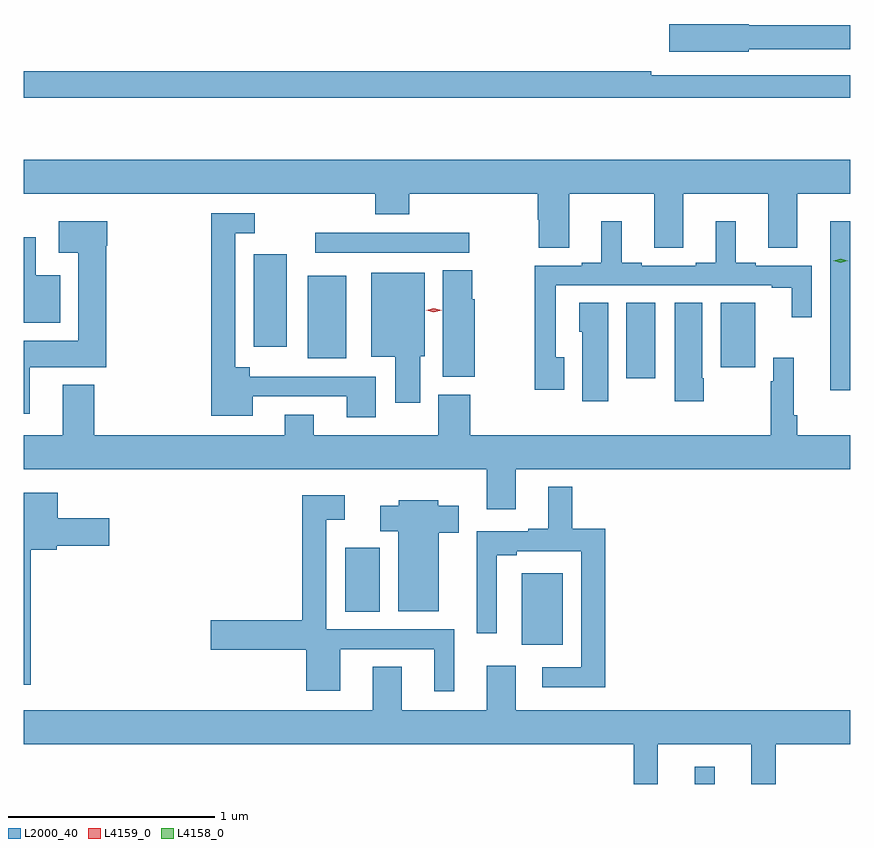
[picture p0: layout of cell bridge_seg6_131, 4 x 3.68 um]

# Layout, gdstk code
import gdstk
lib = gdstk.Library(unit=1e-6, precision=1e-09)
def R(c, l, rs):  # rectangles x0, y0, x1, y1
    for r in rs: c.add(gdstk.rectangle(r[:2], r[2:], *l))
def P(c, l, *ps):  # polygons
    for p in ps: c.add(gdstk.Polygon(p, *l))
L2000_40 = (2000, 40)
L4158_0 = (4158, 0)
L4159_0 = (4159, 0)

bridge_seg6_131 = lib.new_cell('bridge_seg6_131')
R(bridge_seg6_131, L2000_40, [(480.921,923.168,481.018,923.251), (480.083,923.843,480.283,924.187), (479.231,924.001,479.398,924.311), (480.59,925.131,480.73,925.496), (481.046,925.185,481.213,925.496), (479.048,925.229,479.236,925.627), (478.787,925.284,478.948,925.732), (479.085,925.74,479.83,925.836)])
P(bridge_seg6_131, L2000_40, [(481.182,926.724),(481.674,926.724),(481.674,926.84),(481.182,926.84),(481.182,926.846),(480.798,926.846),(480.798,926.711),(481.182,926.711)],
  [(481.674,926.598),(480.71,926.598),(480.71,926.618),(477.674,926.618),(477.674,926.49),(481.674,926.49)],
  [(480.313,926.024),(480.725,926.024),(480.725,925.762),(480.865,925.762),(480.865,926.024),(481.277,926.024),(481.277,925.762),(481.417,925.762),(481.417,926.024),(481.674,926.024),(481.674,926.188),(477.674,926.188),(477.674,926.024),(479.375,926.024),(479.375,925.925),(479.54,925.925),(479.54,926.024),(480.161,926.024),(480.161,925.899),(480.166,925.899),(480.166,925.762),(480.313,925.762)],
  [(479.377,925.14),(478.768,925.14),(478.768,925.186),(478.698,925.186),(478.698,925.833),(478.792,925.833),(478.792,925.929),(478.582,925.929),(478.582,924.95),(478.783,924.95),(478.783,925.044),(479.237,925.044),(479.237,924.942),(479.377,924.942)],
  [(481.674,925.891),(481.578,925.891),(481.578,925.376),(481.577,925.376),(481.577,925.074),(481.674,925.074)],
  [(477.703,925.184),(478.073,925.184),(478.073,925.773),(478.078,925.773),(478.078,925.891),(477.843,925.891),(477.843,925.739),(477.938,925.739),(477.938,925.312),(477.674,925.312),(477.674,924.96),(477.703,924.96)],
  [(480.289,925.233),(480.249,925.233),(480.249,925.581),(481.295,925.581),(481.295,925.569),(481.391,925.569),(481.391,925.428),(481.488,925.428),(481.488,925.677),(481.216,925.677),(481.216,925.69),(481.12,925.69),(481.12,925.891),(481.022,925.891),(481.022,925.69),(480.926,925.69),(480.926,925.677),(480.664,925.677),(480.664,925.69),(480.568,925.69),(480.568,925.891),(480.47,925.891),(480.47,925.69),(480.374,925.69),(480.374,925.677),(480.148,925.677),(480.148,925.077),(480.289,925.077)],
  [(477.85,925.63),(477.733,925.63),(477.733,925.813),(477.674,925.813),(477.674,925.4),(477.85,925.4)],
  [(479.857,925.515),(479.844,925.515),(479.844,925.655),(479.702,925.655),(479.702,925.139),(479.857,925.139)],
  [(479.593,925.239),(479.614,925.239),(479.614,925.642),(479.357,925.642),(479.357,925.235),(479.471,925.235),(479.471,925.014),(479.593,925.014)],
  [(480.502,925.496),(480.362,925.496),(480.362,925.356),(480.377,925.356),(480.377,925.02),(480.502,925.02)],
  [(480.966,925.132),(480.958,925.132),(480.958,925.496),(480.824,925.496),(480.824,925.02),(480.966,925.02)],
  [(480.055,924.692),(481.674,924.692),(481.674,924.856),(481.418,924.856),(481.418,924.952),(481.4,924.952),(481.4,925.231),(481.302,925.231),(481.302,925.118),(481.29,925.118),(481.29,924.856),(479.834,924.856),(479.834,925.051),(479.681,925.051),(479.681,924.856),(479.077,924.856),(479.077,924.955),(478.937,924.955),(478.937,924.856),(478.016,924.856),(478.016,925.099),(477.863,925.099),(477.863,924.856),(477.674,924.856),(477.674,924.692),(479.915,924.692),(479.915,924.498),(480.055,924.498)],
  [(480.488,924.403),(480.329,924.403),(480.329,924.607),(480.212,924.607),(480.212,924.403),(480.116,924.403),(480.116,924.39),(479.867,924.39),(479.867,923.898),(479.964,923.898),(479.964,924.274),(480.061,924.274),(480.061,924.294),(480.372,924.294),(480.372,923.733),(480.183,923.733),(480.183,923.637),(480.488,923.637)],
  [(477.709,924.302),(477.834,924.302),(477.834,924.32),(478.087,924.32),(478.087,924.454),(477.838,924.454),(477.838,924.577),(477.674,924.577),(477.674,923.649),(477.709,923.649)],
  [(479.758,923.916),(479.139,923.916),(479.139,924.446),(479.227,924.446),(479.227,924.565),(479.023,924.565),(479.023,923.96),(478.578,923.96),(478.578,923.818),(479.042,923.818),(479.042,923.619),(479.206,923.619),(479.206,923.82),(479.66,923.82),(479.66,923.616),(479.758,923.616)],
  [(479.683,924.385),(479.779,924.385),(479.779,924.514),(479.679,924.514),(479.679,924.541),(479.49,924.541),(479.49,924.514),(479.399,924.514),(479.399,924.392),(479.486,924.392),(479.486,924.005),(479.683,924.005)],
  [(480.743,923.36),(481.196,923.36),(481.196,923.168),(481.313,923.168),(481.313,923.36),(481.674,923.36),(481.674,923.524),(480.055,923.524),(480.055,923.74),(479.915,923.74),(479.915,923.524),(479.503,923.524),(479.503,923.735),(479.363,923.735),(479.363,923.524),(477.674,923.524),(477.674,923.36),(480.625,923.36),(480.625,923.168),(480.743,923.168)])
P(bridge_seg6_131, L4158_0, [(481.628,925.691),(481.592,925.701),(481.592,925.701),(481.592,925.701),(481.628,925.711),(481.663,925.701),(481.663,925.701),(481.663,925.701)])
P(bridge_seg6_131, L4159_0, [(479.659,925.451),(479.621,925.461),(479.621,925.461),(479.621,925.461),(479.659,925.471),(479.696,925.461),(479.697,925.461),(479.696,925.461)])

lib.write_gds('bridge_seg6_131.gds')
